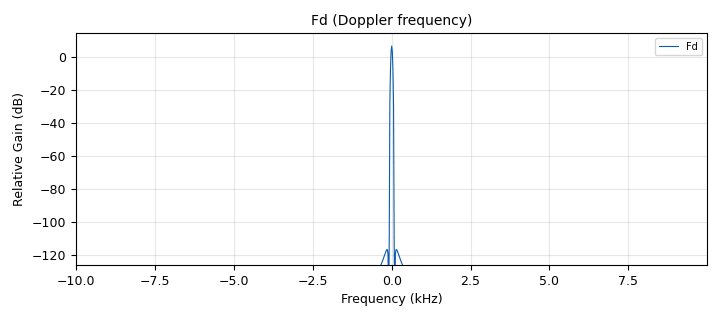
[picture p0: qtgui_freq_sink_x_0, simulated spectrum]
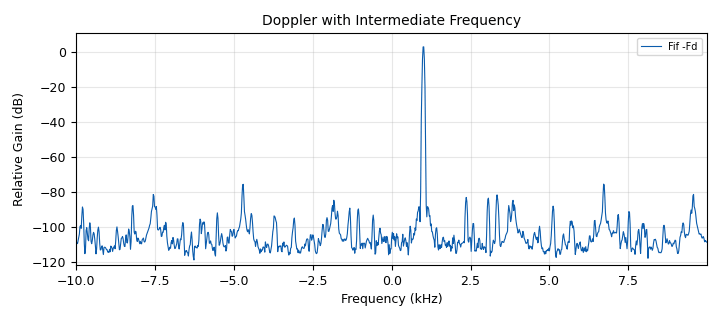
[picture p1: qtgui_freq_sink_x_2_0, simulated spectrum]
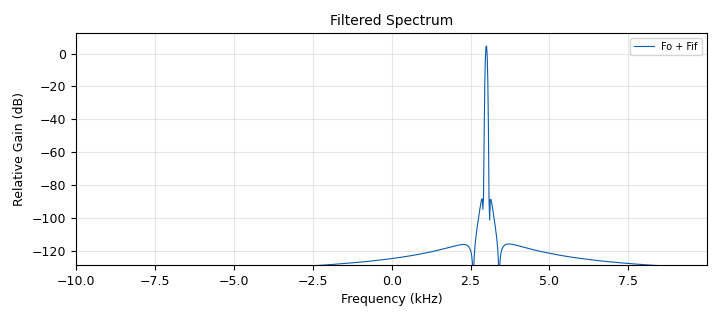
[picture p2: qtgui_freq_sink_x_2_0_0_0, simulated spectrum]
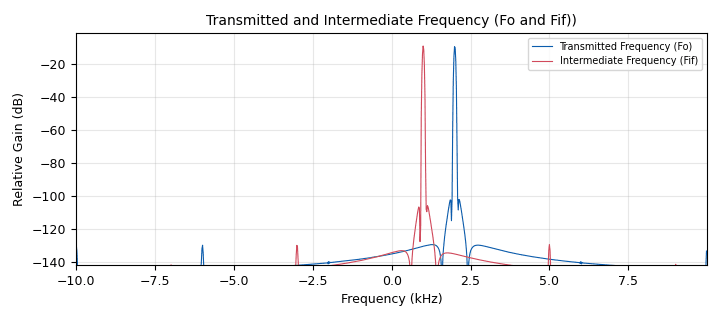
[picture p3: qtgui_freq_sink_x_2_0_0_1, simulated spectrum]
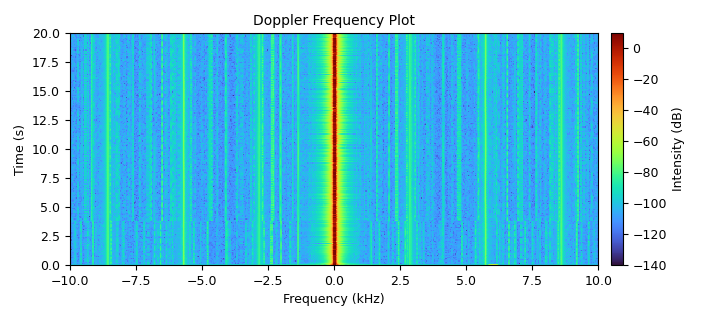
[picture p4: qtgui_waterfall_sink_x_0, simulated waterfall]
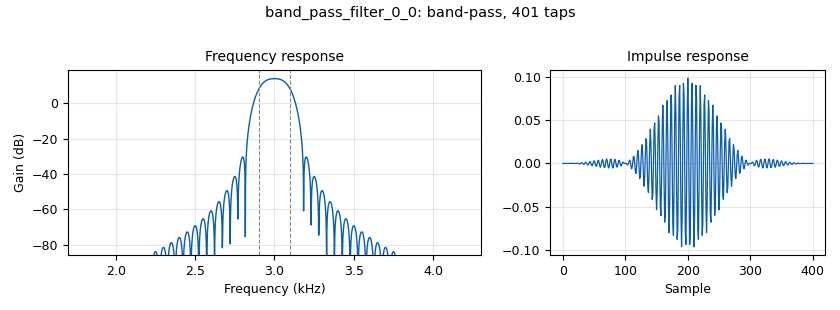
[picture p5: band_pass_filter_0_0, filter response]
options:
  parameters:
    author: Karthick
    copyright: Team-05
    generate_options: qt_gui
    id: Doppler
    output_language: python
    title: Term Assignment
  states: {}

blocks:
- name: Fc
  id: variable
  parameters:
    value: '2400000000'
  states: {}
- name: Fd
  id: variable
  parameters:
    value: (V*2*Fc)/(3e8)*(5/18)
  states: {}
- name: Fif
  id: variable
  parameters:
    value: '1000'
  states: {}
- name: Fo
  id: variable
  parameters:
    value: '2000'
  states: {}
- name: V
  id: variable_qtgui_range
  parameters:
    gui_hint: 0,0,1,1
    label: V
    start: '0'
    step: '1'
    stop: '195'
    value: '0'
  states: {}
- name: samp_rate
  id: variable
  parameters:
    value: '20000'
  states: {}
- name: Doppler_Frequency
  id: qtgui_number_sink
  parameters:
    graph_type: qtgui.NUM_GRAPH_HORIZ
    gui_hint: 1,0,1,1
    name: Doppler Frequency
    type: float
  states: {}
- name: Velocity
  id: qtgui_number_sink
  parameters:
    graph_type: qtgui.NUM_GRAPH_HORIZ
    gui_hint: 2,0,1,1
    name: Velocity(Km/h)
    type: float
  states: {}
- name: analog_sig_source_x_1_0_0
  id: analog_sig_source_x
  parameters:
    amp: '1'
    freq: Fif
    offset: '0'
    phase: '0'
    samp_rate: samp_rate
    type: complex
    waveform: analog.GR_COS_WAVE
  states: {}
- name: analog_sig_source_x_1_1
  id: analog_sig_source_x
  parameters:
    amp: '1'
    freq: Fo
    offset: '0'
    phase: '0'
    samp_rate: samp_rate
    type: complex
    waveform: analog.GR_COS_WAVE
  states: {}
- name: band_pass_filter_0_0
  id: band_pass_filter
  parameters:
    gain: '5'
    high_cutoff_freq: Fo+Fif +100
    interp: '1'
    low_cutoff_freq: Fo+Fif -100
    samp_rate: samp_rate
    type: interp_fir_filter_ccf
    width: '100'
    win: window.WIN_HANN
  states: {}
- name: blocks_delay_0_0
  id: blocks_delay
  parameters:
    delay: '100'
    type: complex
  states: {}
- name: blocks_freqshift_cc_2_0
  id: blocks_freqshift_cc
  parameters:
    freq: Fd
    sample_rate: samp_rate
  states: {}
- name: blocks_multiply_conjugate_cc_1
  id: blocks_multiply_conjugate_cc
  parameters: {}
  states: {}
- name: blocks_multiply_conjugate_cc_1_0
  id: blocks_multiply_conjugate_cc
  parameters: {}
  states: {}
- name: blocks_multiply_xx_0_1
  id: blocks_multiply_xx
  parameters:
    type: complex
  states: {}
- name: channels_channel_model_0
  id: channels_channel_model
  parameters:
    epsilon: '1.0'
    freq_offset: '0.000005'
    noise_voltage: '0.005'
    seed: '0'
    taps: '1.0'
  states: {state: disabled}
- name: channels_fading_model_0
  id: channels_fading_model
  parameters:
    K: '2'
    LOS: 'True'
    N: '8'
    fDTs: 10.0/samp_rate
    seed: '0'
  states: {}
- name: epy_block_0
  id: epy_block
  parameters:
    _source_code: |
      from gnuradio import gr
      import numpy as np

      class blk(gr.sync_block):
          def __init__(self, samp_rate=10000):
              gr.sync_block.__init__(
                  self,
                  name="Phase Doppler Detector",
                  in_sig=[np.complex64],
                  out_sig=[np.float32]
              )
              self.fs = samp_rate

          def work(self, input_items, output_items):
              x = input_items[0]

              phase = np.unwrap(np.angle(x))
              dphi = np.diff(phase)

              fd = np.mean(dphi) * self.fs / (2*np.pi)

              output_items[0][:] = abs(fd)
              return len(output_items[0])
    samp_rate: samp_rate
  states: {}
- name: epy_block_1
  id: epy_block
  parameters:
    _source_code: |
      from gnuradio import gr
      import numpy as np

      class blk(gr.sync_block):
          def __init__(self, fc=2.4e9):
              gr.sync_block.__init__(
                  self,
                  name="Speed Calculator",
                  in_sig=[np.float32],
                  out_sig=[np.float32]
              )
              self.fc = fc
              self.c = 3e8

          def work(self, input_items, output_items):
              fd = input_items[0]
              v = (self.c * fd) / (2 * self.fc)
              output_items[0][:] = v * 3.6  # km/h
              return len(output_items[0])
    fc: '2400000000'
  states: {}
- name: qtgui_freq_sink_x_0
  id: qtgui_freq_sink_x
  parameters:
    autoscale: 'True'
    bw: samp_rate
    color1: '"cyan"'
    fc: '0'
    fftsize: '1024'
    label1: Fd
    name: Fd (Doppler frequency)
    type: float
    width1: '2'
  states: {}
- name: qtgui_freq_sink_x_2_0
  id: qtgui_freq_sink_x
  parameters:
    autoscale: 'True'
    average: '0.2'
    bw: samp_rate
    color1: '"black"'
    fc: '0'
    fftsize: '1024'
    grid: 'True'
    label1: Fif -Fd
    name: Doppler with Intermediate Frequency
    type: complex
    width1: '2'
  states: {}
- name: qtgui_freq_sink_x_2_0_0_0
  id: qtgui_freq_sink_x
  parameters:
    autoscale: 'True'
    average: '0.2'
    bw: samp_rate
    color1: '"magenta"'
    fc: '0'
    fftsize: '1024'
    grid: 'True'
    label1: 'Fo + Fif '
    name: Filtered Spectrum
    type: complex
    width1: '3'
  states: {}
- name: qtgui_freq_sink_x_2_0_0_1
  id: qtgui_freq_sink_x
  parameters:
    autoscale: 'True'
    average: '0.2'
    bw: samp_rate
    fc: '0'
    fftsize: '1024'
    grid: 'True'
    label1: Transmitted Frequency (Fo)
    label2: Intermediate Frequency (Fif)
    name: Transmitted and Intermediate Frequency (Fo and Fif))
    nconnections: '2'
    type: complex
    width1: '3'
    width2: '3'
  states: {}
- name: qtgui_waterfall_sink_x_0
  id: qtgui_waterfall_sink_x
  parameters:
    bw: samp_rate
    fc: '0'
    fftsize: '1024'
    gui_hint: 3,0,1,1
    name: Doppler Frequency Plot
    type: complex
    wintype: window.WIN_HANN
  states: {}

connections:
- [analog_sig_source_x_1_0_0, '0', blocks_multiply_conjugate_cc_1_0, '0']
- [analog_sig_source_x_1_0_0, '0', blocks_multiply_xx_0_1, '1']
- [analog_sig_source_x_1_0_0, '0', qtgui_freq_sink_x_2_0_0_1, '1']
- [analog_sig_source_x_1_1, '0', blocks_delay_0_0, '0']
- [analog_sig_source_x_1_1, '0', blocks_multiply_xx_0_1, '0']
- [analog_sig_source_x_1_1, '0', qtgui_freq_sink_x_2_0_0_1, '0']
- [band_pass_filter_0_0, '0', blocks_multiply_conjugate_cc_1, '0']
- [band_pass_filter_0_0, '0', qtgui_freq_sink_x_2_0_0_0, '0']
- [blocks_delay_0_0, '0', blocks_freqshift_cc_2_0, '0']
- [blocks_freqshift_cc_2_0, '0', channels_channel_model_0, '0']
- [blocks_freqshift_cc_2_0, '0', channels_fading_model_0, '0']
- [blocks_multiply_conjugate_cc_1, '0', blocks_multiply_conjugate_cc_1_0, '1']
- [blocks_multiply_conjugate_cc_1, '0', qtgui_freq_sink_x_2_0, '0']
- [blocks_multiply_conjugate_cc_1_0, '0', epy_block_0, '0']
- [blocks_multiply_conjugate_cc_1_0, '0', qtgui_waterfall_sink_x_0, '0']
- [blocks_multiply_xx_0_1, '0', band_pass_filter_0_0, '0']
- [channels_channel_model_0, '0', blocks_multiply_conjugate_cc_1, '1']
- [channels_fading_model_0, '0', blocks_multiply_conjugate_cc_1, '1']
- [epy_block_0, '0', Doppler_Frequency, '0']
- [epy_block_0, '0', epy_block_1, '0']
- [epy_block_0, '0', qtgui_freq_sink_x_0, '0']
- [epy_block_1, '0', Velocity, '0']

metadata:
  file_format: 1
  grc_version: 3.10.12.0
